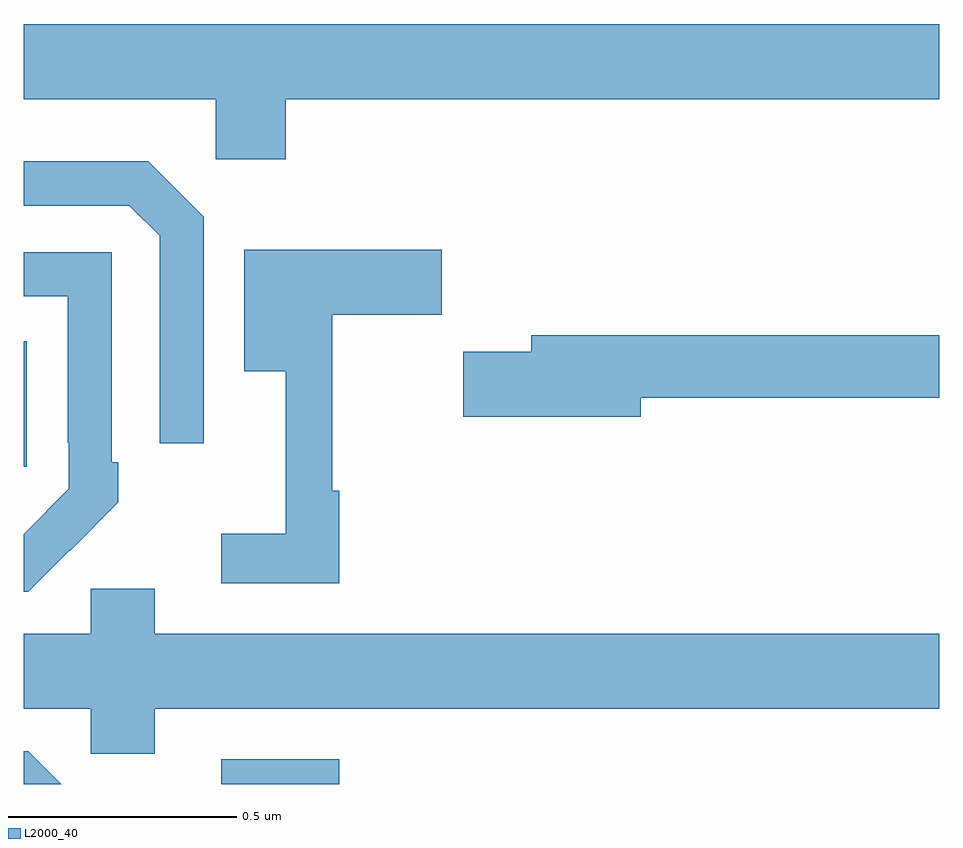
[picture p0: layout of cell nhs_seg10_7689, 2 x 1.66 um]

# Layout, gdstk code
import gdstk
lib = gdstk.Library(unit=1e-6, precision=1e-09)
def R(c, l, rs):  # rectangles x0, y0, x1, y1
    for r in rs: c.add(gdstk.rectangle(r[:2], r[2:], *l))
def P(c, l, *ps):  # polygons
    for p in ps: c.add(gdstk.Polygon(p, *l))
L2000_40 = (2000, 40)

nhs_seg10_7689 = lib.new_cell('nhs_seg10_7689')
R(nhs_seg10_7689, L2000_40, [(207.432,1285.5,207.689,1285.554), (207,1286.193,207.007,1286.467)])
P(nhs_seg10_7689, L2000_40, [(207.572,1286.996),(209,1286.996),(209,1287.16),(207,1287.16),(207,1286.996),(207.42,1286.996),(207.42,1286.865),(207.572,1286.865)],
  [(207.393,1286.739),(207.272,1286.86),(207,1286.86),(207,1286.763),(207.231,1286.763),(207.297,1286.697),(207.297,1286.244),(207.393,1286.244)],
  [(207.689,1286.141),(207.674,1286.141),(207.674,1286.525),(207.913,1286.525),(207.913,1286.667),(207.482,1286.667),(207.482,1286.402),(207.572,1286.402),(207.572,1286.047),(207.432,1286.047),(207.432,1285.938),(207.689,1285.938)],
  [(207.101,1286.011),(207.102,1286.01),(207.207,1286.115),(207.207,1286.203),(207.192,1286.203),(207.192,1286.661),(207,1286.661),(207,1286.565),(207.096,1286.565),(207.096,1286.245),(207.099,1286.245),(207.099,1286.145),(207,1286.046),(207,1285.92),(207.01,1285.92)],
  [(208.348,1286.344),(209,1286.344),(209,1286.48),(208.109,1286.48),(208.109,1286.444),(207.96,1286.444),(207.96,1286.302),(208.348,1286.302)],
  [(207.286,1285.664),(209,1285.664),(209,1285.828),(207.286,1285.828),(207.286,1285.926),(207.147,1285.926),(207.147,1285.828),(207,1285.828),(207,1285.664),(207.147,1285.664),(207.147,1285.566),(207.286,1285.566)],
  [(207.01,1285.572),(207,1285.572),(207,1285.5),(207.082,1285.5)])

lib.write_gds('nhs_seg10_7689.gds')
